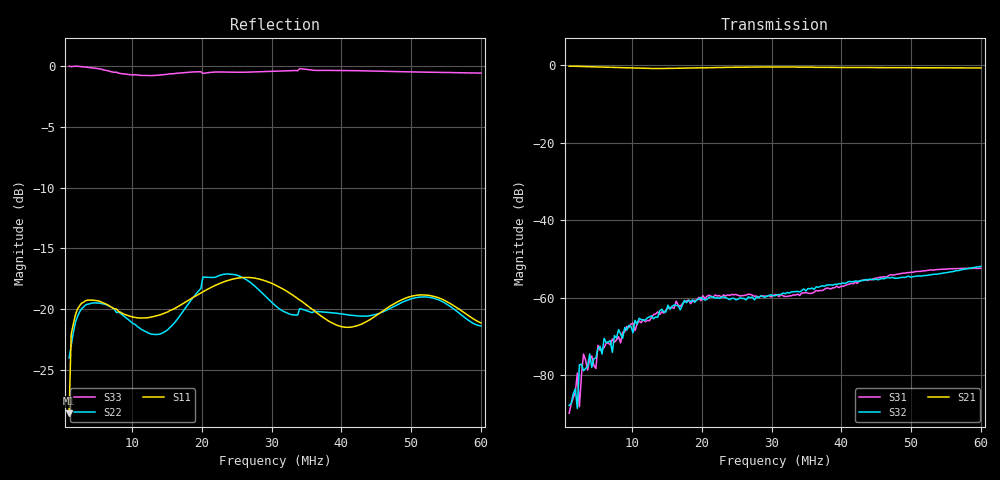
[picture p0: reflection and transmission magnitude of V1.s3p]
#  HZ  S  DB  R  50.00
! Rohde & Schwarz ZVT8 8Ports - Version 4.11 - 1300.0000k08 SN: 100242
! Date: 2024-03-13 13:30:27
! Measurements: S11 S12 S13 S21 S22 S23 S31 S32 S33
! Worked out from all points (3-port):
!   201 points, 1 MHz to 60 MHz, reference 50 ohm
!   strongest paths, dB at 1 MHz, 15.75 MHz, 30.5 MHz, 45.25 MHz, 60 MHz:
!     S21: -0.2, -0.8, -0.4, -0.6, -0.6
!     S32: -87.8, -62.2, -59.5, -55.4, -51.9
!     S31: -89.8, -62.5, -59.1, -54.8, -52.4
!   lowest |S11| = -28.6 dB at 1 MHz (marker M1), VSWR 1.08, Z = 46.7 - j1.39 ohm
!   |S11| at or under -10 dB: start of sweep to end of sweep
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1000000  -28.60 -156.5  -0.05 -12.9  -87.72 82.1
         -0.20 -12.6  -24.05 -164.7  -87.08 76.4
         -89.82 74.4  -87.77 76.5  -0.01 -9.1
2180000  -20.03 150.9  -0.10 -27.3  -82.10 38.4
         -0.24 -26.9  -20.65 136.4  -82.34 41.9
         -79.41 78.2  -88.55 87.0  -0.01 -19.8
7785000  -20.01 25.2  -0.47 -94.2  -71.32 3.9
         -0.55 -95.2  -20.31 -14.0  -69.81 16.0
         -70.84 6.0  -70.38 33.9  -0.49 -71.4
1.516e7  -20.24 -93.9  -0.76 177.9  -62.55 -78.1
         -0.76 178.0  -21.69 172.9  -62.81 -56.3
         -62.59 -77.3  -61.90 -50.4  -0.66 -133.4
2.283e7  -17.84 121.7  -0.45 87.3  -60.62 -165.4
         -0.51 87.2  -17.19 -10.2  -61.20 -146.2
         -59.84 -170.1  -59.81 -150.8  -0.48 156.1
3.05e7  -18.02 -12.2  -0.29 -5.5  -59.38 110.1
        -0.39 -5.5  -19.70 172.8  -59.21 148.6
        -59.12 106.0  -59.48 139.4  -0.42 86.1
3.758e7  -20.77 -146.2  -0.41 -90.7  -56.97 43.3
         -0.49 -90.6  -20.26 -11.7  -56.07 78.3
         -57.82 44.4  -57.01 74.6  -0.35 23.0
4.4955e7  -20.56 57.5  -0.48 -179.7  -54.18 -40.0
          -0.55 -179.6  -20.45 161.7  -54.44 -4.0
          -54.91 -35.4  -55.16 -2.0  -0.41 -43.4
5.2625e7  -18.88 -71.9  -0.55 88.7  -53.33 -130.7
          -0.62 88.7  -19.04 -16.0  -54.70 -78.8
          -52.86 -125.5  -54.12 -73.9  -0.51 -111.6
6e7  -21.15 158.1  -0.57 0.5  -53.22 148.7
     -0.64 0.6  -21.40 167.4  -52.76 -145.1
     -52.37 147.9  -51.87 -146.7  -0.57 -178.2
